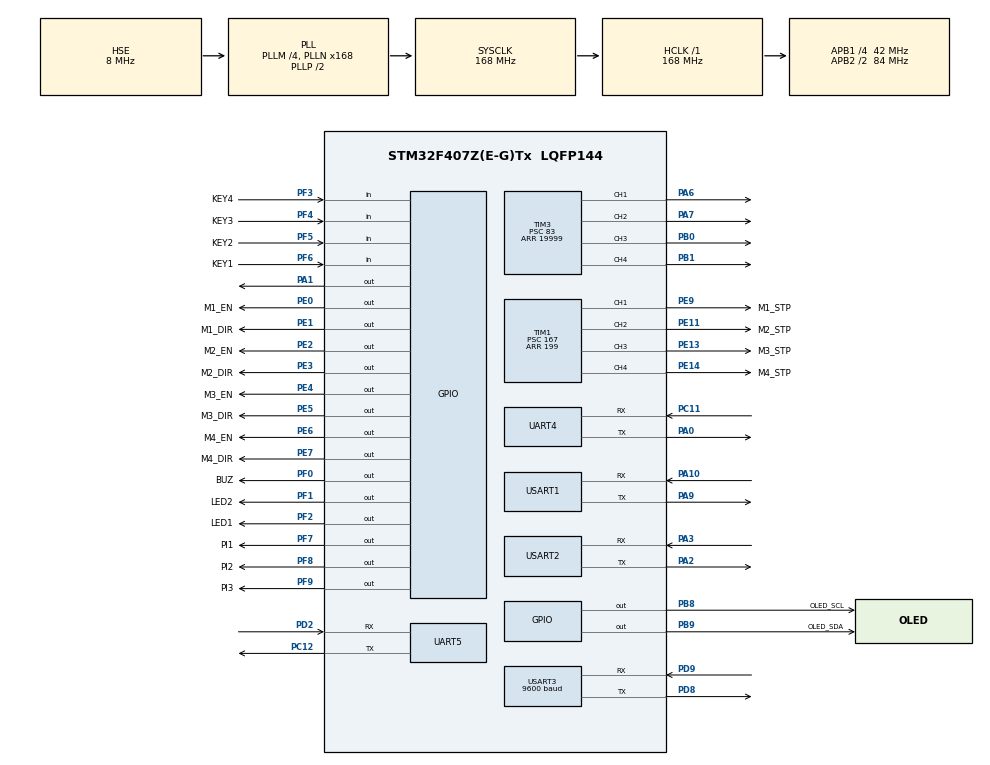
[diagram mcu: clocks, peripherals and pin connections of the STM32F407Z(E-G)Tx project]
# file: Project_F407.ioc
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Dma.Request0=USART2_RX
Dma.Request1=UART4_RX
Dma.Request2=UART4_TX
Dma.UART4_RX.1.Direction=DMA_PERIPH_TO_MEMORY
Dma.UART4_RX.1.FIFOMode=DMA_FIFOMODE_DISABLE
Dma.UART4_RX.1.Instance=DMA1_Stream2
Dma.UART4_RX.1.MemDataAlignment=DMA_MDATAALIGN_BYTE
Dma.UART4_RX.1.MemInc=DMA_MINC_ENABLE
Dma.UART4_RX.1.Mode=DMA_NORMAL
Dma.UART4_RX.1.PeriphDataAlignment=DMA_PDATAALIGN_BYTE
Dma.UART4_RX.1.PeriphInc=DMA_PINC_DISABLE
Dma.UART4_RX.1.Priority=DMA_PRIORITY_LOW
Dma.UART4_TX.2.Direction=DMA_MEMORY_TO_PERIPH
Dma.UART4_TX.2.FIFOMode=DMA_FIFOMODE_DISABLE
Dma.UART4_TX.2.Instance=DMA1_Stream4
Dma.UART4_TX.2.MemDataAlignment=DMA_MDATAALIGN_BYTE
Dma.UART4_TX.2.MemInc=DMA_MINC_ENABLE
Dma.UART4_TX.2.Mode=DMA_NORMAL
Dma.UART4_TX.2.PeriphDataAlignment=DMA_PDATAALIGN_BYTE
Dma.UART4_TX.2.PeriphInc=DMA_PINC_DISABLE
Dma.UART4_TX.2.Priority=DMA_PRIORITY_LOW
Dma.USART2_RX.0.Direction=DMA_PERIPH_TO_MEMORY
Dma.USART2_RX.0.FIFOMode=DMA_FIFOMODE_DISABLE
Dma.USART2_RX.0.Instance=DMA1_Stream5
Dma.USART2_RX.0.MemDataAlignment=DMA_MDATAALIGN_BYTE
Dma.USART2_RX.0.MemInc=DMA_MINC_ENABLE
Dma.USART2_RX.0.Mode=DMA_CIRCULAR
Dma.USART2_RX.0.PeriphDataAlignment=DMA_PDATAALIGN_BYTE
Dma.USART2_RX.0.PeriphInc=DMA_PINC_DISABLE
Dma.USART2_RX.0.Priority=DMA_PRIORITY_VERY_HIGH
Mcu.Family=STM32F4
Mcu.Name=STM32F407Z(E-G)Tx
Mcu.Package=LQFP144
NVIC.DMA1_Stream2_IRQn=true\:0\:0\:false\:false\:true\:false\:true\:true
NVIC.DMA1_Stream4_IRQn=true\:0\:0\:false\:false\:true\:false\:true\:true
NVIC.DMA1_Stream5_IRQn=true\:0\:0\:false\:false\:true\:false\:true\:true
NVIC.PriorityGroup=NVIC_PRIORITYGROUP_4
NVIC.TIM1_BRK_TIM9_IRQn=true\:0\:0\:false\:false\:true\:true\:true\:true
NVIC.TIM1_CC_IRQn=true\:0\:0\:false\:false\:true\:true\:true\:true
NVIC.TIM1_TRG_COM_TIM11_IRQn=true\:0\:0\:false\:false\:true\:true\:true\:true
NVIC.TIM1_UP_TIM10_IRQn=true\:0\:0\:false\:false\:true\:true\:true\:true
NVIC.TIM6_DAC_IRQn=true\:0\:0\:false\:false\:true\:true\:true\:true
NVIC.UART4_IRQn=true\:0\:0\:false\:false\:true\:true\:true\:true
NVIC.UART5_IRQn=true\:0\:0\:false\:false\:true\:true\:true\:true
NVIC.USART1_IRQn=true\:0\:0\:false\:false\:true\:true\:true\:true
NVIC.USART2_IRQn=true\:0\:0\:false\:false\:true\:true\:true\:true
NVIC.USART3_IRQn=true\:0\:0\:false\:false\:true\:true\:true\:true
PA0-WKUP.Mode=Asynchronous
PA0-WKUP.Signal=UART4_TX
PA1.Signal=GPIO_Output
PA10.Mode=Asynchronous
PA10.Signal=USART1_RX
PA13.Mode=Serial_Wire
PA13.Signal=SYS_JTMS-SWDIO
PA14.Mode=Serial_Wire
PA14.Signal=SYS_JTCK-SWCLK
PA2.Mode=Asynchronous
PA2.Signal=USART2_TX
PA3.Mode=Asynchronous
PA3.Signal=USART2_RX
PA6.Signal=S_TIM3_CH1
PA7.Signal=S_TIM3_CH2
PA9.Mode=Asynchronous
PA9.Signal=USART1_TX
PB0.Signal=S_TIM3_CH3
PB1.Signal=S_TIM3_CH4
PB8.GPIO_Label=OLED_SCL
PB8.GPIO_Speed=GPIO_SPEED_FREQ_HIGH
PB8.PinState=GPIO_PIN_SET
PB8.Signal=GPIO_Output
PB9.GPIO_Label=OLED_SDA
PB9.GPIO_Speed=GPIO_SPEED_FREQ_HIGH
PB9.PinState=GPIO_PIN_SET
PB9.Signal=GPIO_Output
PC11.Mode=Asynchronous
PC11.Signal=UART4_RX
PC12.Mode=Asynchronous
PC12.Signal=UART5_TX
PC14-OSC32_IN.Mode=LSE-External-Oscillator
PC14-OSC32_IN.Signal=RCC_OSC32_IN
PC15-OSC32_OUT.Mode=LSE-External-Oscillator
PC15-OSC32_OUT.Signal=RCC_OSC32_OUT
PD2.Mode=Asynchronous
PD2.Signal=UART5_RX
PD8.Mode=Asynchronous
PD8.Signal=USART3_TX
PD9.Mode=Asynchronous
PD9.Signal=USART3_RX
PE0.GPIO_Label=M1_EN
PE0.PinState=GPIO_PIN_SET
PE0.Signal=GPIO_Output
PE1.GPIO_Label=M1_DIR
PE1.PinState=GPIO_PIN_SET
PE1.Signal=GPIO_Output
PE11.GPIO_Label=M2_STP
PE11.Signal=S_TIM1_CH2
PE13.GPIO_Label=M3_STP
PE13.Signal=S_TIM1_CH3
PE14.GPIO_Label=M4_STP
PE14.Signal=S_TIM1_CH4
PE2.GPIO_Label=M2_EN
PE2.PinState=GPIO_PIN_SET
PE2.Signal=GPIO_Output
PE3.GPIO_Label=M2_DIR
PE3.PinState=GPIO_PIN_SET
PE3.Signal=GPIO_Output
PE4.GPIO_Label=M3_EN
PE4.PinState=GPIO_PIN_SET
PE4.Signal=GPIO_Output
PE5.GPIO_Label=M3_DIR
PE5.PinState=GPIO_PIN_SET
PE5.Signal=GPIO_Output
PE6.GPIO_Label=M4_EN
PE6.PinState=GPIO_PIN_SET
PE6.Signal=GPIO_Output
PE7.GPIO_Label=M4_DIR
PE7.PinState=GPIO_PIN_SET
PE7.Signal=GPIO_Output
PE9.GPIO_Label=M1_STP
PE9.Signal=S_TIM1_CH1
PF0.GPIO_Label=BUZ
PF0.Signal=GPIO_Output
PF1.GPIO_Label=LED2
PF1.PinState=GPIO_PIN_SET
PF1.Signal=GPIO_Output
PF2.GPIO_Label=LED1
PF2.PinState=GPIO_PIN_SET
PF2.Signal=GPIO_Output
PF3.GPIO_Label=KEY4
PF3.GPIO_PuPd=GPIO_PULLUP
PF3.Signal=GPIO_Input
PF4.GPIO_Label=KEY3
PF4.GPIO_PuPd=GPIO_PULLUP
PF4.Signal=GPIO_Input
PF5.GPIO_Label=KEY2
PF5.GPIO_PuPd=GPIO_PULLUP
PF5.Signal=GPIO_Input
PF6.GPIO_Label=KEY1
PF6.GPIO_PuPd=GPIO_PULLUP
PF6.Signal=GPIO_Input
PF7.GPIO_Label=PI1
PF7.Signal=GPIO_Output
PF8.GPIO_Label=PI2
PF8.Signal=GPIO_Output
PF9.GPIO_Label=PI3
PF9.Signal=GPIO_Output
PH0-OSC_IN.Mode=HSE-External-Oscillator
PH0-OSC_IN.Signal=RCC_OSC_IN
PH1-OSC_OUT.Mode=HSE-External-Oscillator
PH1-OSC_OUT.Signal=RCC_OSC_OUT
ProjectManager.HeapSize=0x200
ProjectManager.StackSize=0x400
ProjectManager.TargetToolchain=MDK-ARM V5
RCC.48MHZClocksFreq_Value=84000000
RCC.AHBFreq_Value=168000000
RCC.APB1CLKDivider=RCC_HCLK_DIV4
RCC.APB1Freq_Value=42000000
RCC.APB1TimFreq_Value=84000000
RCC.APB2CLKDivider=RCC_HCLK_DIV2
RCC.APB2Freq_Value=84000000
RCC.APB2TimFreq_Value=168000000
RCC.CortexFreq_Value=168000000
RCC.HCLKFreq_Value=168000000
RCC.HSE_VALUE=8000000
RCC.HSI_VALUE=16000000
RCC.PLLM=4
RCC.PLLN=168
RCC.PLLSourceVirtual=RCC_PLLSOURCE_HSE
RCC.SYSCLKFreq_VALUE=168000000
RCC.SYSCLKSource=RCC_SYSCLKSOURCE_PLLCLK
RCC.VCOOutputFreq_Value=336000000
SH.S_TIM1_CH1.0=TIM1_CH1,Output Compare1 CH1
SH.S_TIM1_CH2.0=TIM1_CH2,Output Compare2 CH2
SH.S_TIM1_CH3.0=TIM1_CH3,Output Compare3 CH3
SH.S_TIM1_CH4.0=TIM1_CH4,Output Compare4 CH4
SH.S_TIM3_CH1.0=TIM3_CH1,PWM Generation1 CH1
SH.S_TIM3_CH2.0=TIM3_CH2,PWM Generation2 CH2
SH.S_TIM3_CH3.0=TIM3_CH3,PWM Generation3 CH3
SH.S_TIM3_CH4.0=TIM3_CH4,PWM Generation4 CH4
TIM1.AutoReloadPreload=TIM_AUTORELOAD_PRELOAD_ENABLE
TIM1.Channel-Output\ Compare1\ CH1=TIM_CHANNEL_1
TIM1.Channel-Output\ Compare2\ CH2=TIM_CHANNEL_2
TIM1.Channel-Output\ Compare3\ CH3=TIM_CHANNEL_3
TIM1.Channel-Output\ Compare4\ CH4=TIM_CHANNEL_4
TIM1.Period=199
TIM1.Prescaler=167
TIM3.AutoReloadPreload=TIM_AUTORELOAD_PRELOAD_ENABLE
TIM3.Channel-PWM\ Generation1\ CH1=TIM_CHANNEL_1
TIM3.Channel-PWM\ Generation2\ CH2=TIM_CHANNEL_2
TIM3.Channel-PWM\ Generation3\ CH3=TIM_CHANNEL_3
TIM3.Channel-PWM\ Generation4\ CH4=TIM_CHANNEL_4
TIM3.Period=19999
TIM3.Prescaler=83
TIM6.AutoReloadPreload=TIM_AUTORELOAD_PRELOAD_ENABLE
TIM6.Period=99
TIM6.Prescaler=8399
UART4.VirtualMode=Asynchronous
UART5.VirtualMode=Asynchronous
USART1.VirtualMode=VM_ASYNC
USART2.VirtualMode=VM_ASYNC
USART3.BaudRate=9600
USART3.VirtualMode=VM_ASYNC
VP_TIM1_VS_ClockSourceINT.Mode=Internal
VP_TIM3_VS_ClockSourceINT.Mode=Internal
VP_TIM6_VS_ClockSourceINT.Mode=Enable_Timer
board=custom

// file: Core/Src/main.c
/* USER CODE BEGIN Header */
/**
 ******************************************************************************
 * @file           : main.c
 * @brief          : Main program body
 ******************************************************************************
 * @attention
 *
 * Copyright (c) 2023 STMicroelectronics.
 * All rights reserved.
 *
 * This software is licensed under terms that can be found in the LICENSE file
 * in the root directory of this software component.
 * If no LICENSE file comes with this software, it is provided AS-IS.
 *
 ******************************************************************************
 */
/* USER CODE END Header */
#include "main.h"
#include "dma.h"
#include "tim.h"
#include "usart.h"
#include "gpio.h"

/* USER CODE BEGIN Includes */
#include "Control.h"
#include "Delay.h"
#include "IMU.h"
#include "LCD.h"
#include "Motor.h"
#include "Move.h"
#include "OLED.h"
#include "PI.h"
#include "Servo.h"
#include "usart.h"
/* USER CODE END Includes */

/* USER CODE BEGIN PV */
int fputc(int ch, FILE *f)
{
      uint8_t temp[1] = {ch};
      HAL_UART_Transmit(&huart5, temp, 1, 1000);
      return ch;
}
 void Uart_Debug_Init(void)
 {

 };
/* USER CODE END PV */

void SystemClock_Config(void);

/* USER CODE BEGIN 0 */
uint8_t HuaGui_Init_State = 0;
void HuaGui_Init_Proc(void)
{
      // Motor_Read_Current(5);
      if (HuaGui_Init_State == 1)
      {
            Motor_SetPosition(5, 3200, -50, 0);
            //Motor_Run();
            HuaGui_Init_State = 2;
      }
      else if (HuaGui_Init_State == 2)
      {
            Motor_Read_Current(5);
#if Serial_Debug == 1
            printf("%d\r\n", Motor_HuaGui_Current); // 200
#endif
            if (Motor_HuaGui_Current >= 520)
            {
                  HuaGui_Init_State = 3;
                  Motor_Reset(5);
                  HuaGui_JiaoZhun();
                  Servo_Init();
            }
      }
      else if (HuaGui_Init_State == 3)
      {
            if (HuaGui_Turn(HuaGui_IN) == 1)
            {
                  HuaGui_Init_State = 0;
            }
      }
}
// uint16_t Temp_Val = 90;
uint8_t Motor_State = 1;
extern uint8_t Running_Mode; // �ٶ�ģʽ
uint8_t temp1 = 0, temp2 = 0, temp3 = 0, temp4 = 0;
void Key_Proc(void)
{
      if (temp1 == 1)
      {
            // uint8_t temp = ZaiWu_Turn(ZaiWu_Mid);
            // if (temp == 1)
            // {
            //       temp1 = 0;
            //       temp2 = 0;
            //       temp3 = 0;
            //       temp4 = 0;
            // }
      }
      if (temp2 == 1)
      {
            // uint8_t temp = ZaiWu_Turn(ZaiWu_Left);
            // if (temp == 1)
            // {
            //       temp1 = 0;
            //       temp2 = 0;
            //       temp3 = 0;
            //       temp4 = 0;
            // }
      }
      if (temp3 == 1)
      {
            // uint8_t temp = Put_Loads(0, 0);
            // if (temp == 1)
            // {
            //       temp1 = 0;
            //       temp2 = 0;
            //       temp3 = 0;
            //       temp4 = 0;
            // }
      }
      if (temp4 == 1)
      {
            // uint8_t temp = Car_Calibration(150, 100);
            // if (temp == 1)
            // {
            //       temp1 = 0;
            //       temp2 = 0;
            //       temp3 = 0;
            //       temp4 = 0;
            // }
      }
      if (HAL_GPIO_ReadPin(KEY1_GPIO_Port, KEY1_Pin) == GPIO_PIN_RESET) // �������ʹ��ʧ��
      {
            while (HAL_GPIO_ReadPin(KEY1_GPIO_Port, KEY1_Pin) == GPIO_PIN_RESET)
                  ;
            Motor_State = !Motor_State;
            if (Motor_State == 1)
            {
                  Motor_Enable_All();
            }
            else
            {
                  Motor_Disable_All();
            }
            temp1 = 1;
            temp2 = 0;
            temp3 = 0;
            temp4 = 0;
      }
      if (HAL_GPIO_ReadPin(KEY2_GPIO_Port, KEY2_Pin) == GPIO_PIN_RESET) // ����������ת��
      {
            while (HAL_GPIO_ReadPin(KEY2_GPIO_Port, KEY2_Pin) == GPIO_PIN_RESET)
                  ;
            // HuaGui_Init_State = 1;
            temp1 = 0;
            temp2 = 1;
            temp3 = 0;
            temp4 = 0;
      }
      if (HAL_GPIO_ReadPin(KEY3_GPIO_Port, KEY3_Pin) == GPIO_PIN_RESET)
      {
            while (HAL_GPIO_ReadPin(KEY3_GPIO_Port, KEY3_Pin) == GPIO_PIN_RESET)
                  ;
            // Temp_Val += 5;
            Running_Mode++;
            if (Running_Mode > 3)
                  Running_Mode = 0;
            temp1 = 0;
            temp2 = 0;
            temp3 = 1;
            temp4 = 0;
      }
      if (HAL_GPIO_ReadPin(KEY4_GPIO_Port, KEY4_Pin) == GPIO_PIN_RESET) // ����λ�����Ϳ�ʼ����
      {
            while (HAL_GPIO_ReadPin(KEY4_GPIO_Port, KEY4_Pin) == GPIO_PIN_RESET)
                  ;
            HAL_UART_Transmit(&huart4, "99", 2, 0xffff);
#if Serial_Debug == 1
            printf("GO!!!!!\r\n");
#endif

            temp1 = 0;
            temp2 = 0;
            temp3 = 0;
            temp4 = 1;
      }
}
void OLED_Proc(void)
{
      OLED_ShowString(1, 1, "H ");
      OLED_ShowNum(1, 3, Stop_Flag_HuaGui, 1);
      OLED_ShowString(1, 5, "C ");
      OLED_ShowNum(1, 7, Stop_Flag_Car, 1);
      OLED_ShowString(1, 9, "Y ");
      OLED_ShowSignedNum(1, 11, Yaw, 3);

      OLED_ShowString(2, 1, "Task:");
      OLED_ShowNum(2, 6, Task_Num0, 2);
      OLED_ShowNum(2, 9, Running_Flag, 1);

      OLED_ShowString(3, 1, "Data:");
      OLED_ShowSignedNum(3, 6, Task_Num1, 3);
      OLED_ShowSignedNum(3, 11, Task_Num2, 3);

      OLED_ShowNum(4, 15, Running_Mode, 1);
      // OLED_ShowNum(4, 10, Temp_Val, 3);
      // Servo_SetAngle(SERVO_ZaiWu, Temp_Val);
      if (Motor_State == 1)
      {
            OLED_ShowString(4, 1, "Motor ON ");
      }
      else
      {
            OLED_ShowString(4, 1, "Motor OFF");
      }
}

/* USER CODE END 0 */

int main(void)
{

  /* MCU Configuration--------------------------------------------------------*/

  /* Reset of all peripherals, Initializes the Flash interface and the Systick. */
  HAL_Init();

  /* Configure the system clock */
  SystemClock_Config();

  /* Initialize all configured peripherals */
  MX_GPIO_Init();
  MX_DMA_Init();
  MX_TIM1_Init();
  MX_TIM3_Init();
  MX_TIM6_Init();
  MX_UART4_Init();
  MX_UART5_Init();
  MX_USART1_UART_Init();
  MX_USART2_UART_Init();
  MX_USART3_UART_Init();
  /* USER CODE BEGIN 2 */
      Delay_Init(168);
      OLED_Init();
      Motor_Init();
      HAL_TIM_Base_Start_IT(&htim6);
      // #if Car_Turn_Use_IMU
      IMU_Init();
// #endif
#if Serial_Debug == 1
      Uart_Debug_Init();
#endif
      PI_Init();
      LCD_Init();
      Delay_ms(1000);
      HuaGui_Init_State = 1;
  /* USER CODE END 2 */

  /* Infinite loop */
      while (1)
      {

    /* USER CODE BEGIN 3 */
            PI_Data_Receive_Proc();
            OLED_Proc();
            Key_Proc();
            Control_Proc();
            IMU_Proc();
            HuaGui_Init_Proc();
      }
  /* USER CODE END 3 */
}

void SystemClock_Config(void)
{
  RCC_OscInitTypeDef RCC_OscInitStruct = {0};
  RCC_ClkInitTypeDef RCC_ClkInitStruct = {0};

  /** Configure the main internal regulator output voltage
  */
  __HAL_RCC_PWR_CLK_ENABLE();
  __HAL_PWR_VOLTAGESCALING_CONFIG(PWR_REGULATOR_VOLTAGE_SCALE1);

  /** Initializes the RCC Oscillators according to the specified parameters
  * in the RCC_OscInitTypeDef structure.
  */
  RCC_OscInitStruct.OscillatorType = RCC_OSCILLATORTYPE_HSE;
  RCC_OscInitStruct.HSEState = RCC_HSE_ON;
  RCC_OscInitStruct.PLL.PLLState = RCC_PLL_ON;
  RCC_OscInitStruct.PLL.PLLSource = RCC_PLLSOURCE_HSE;
  RCC_OscInitStruct.PLL.PLLM = 4;
  RCC_OscInitStruct.PLL.PLLN = 168;
  RCC_OscInitStruct.PLL.PLLP = RCC_PLLP_DIV2;
  RCC_OscInitStruct.PLL.PLLQ = 4;
  if (HAL_RCC_OscConfig(&RCC_OscInitStruct) != HAL_OK)
  {
    Error_Handler();
  }

  /** Initializes the CPU, AHB and APB buses clocks
  */
  RCC_ClkInitStruct.ClockType = RCC_CLOCKTYPE_HCLK|RCC_CLOCKTYPE_SYSCLK
                              |RCC_CLOCKTYPE_PCLK1|RCC_CLOCKTYPE_PCLK2;
  RCC_ClkInitStruct.SYSCLKSource = RCC_SYSCLKSOURCE_PLLCLK;
  RCC_ClkInitStruct.AHBCLKDivider = RCC_SYSCLK_DIV1;
  RCC_ClkInitStruct.APB1CLKDivider = RCC_HCLK_DIV4;
  RCC_ClkInitStruct.APB2CLKDivider = RCC_HCLK_DIV2;

  if (HAL_RCC_ClockConfig(&RCC_ClkInitStruct, FLASH_LATENCY_5) != HAL_OK)
  {
    Error_Handler();
  }
}

void Error_Handler(void)
{
      __disable_irq();
      while (1)
      {
      }
}
